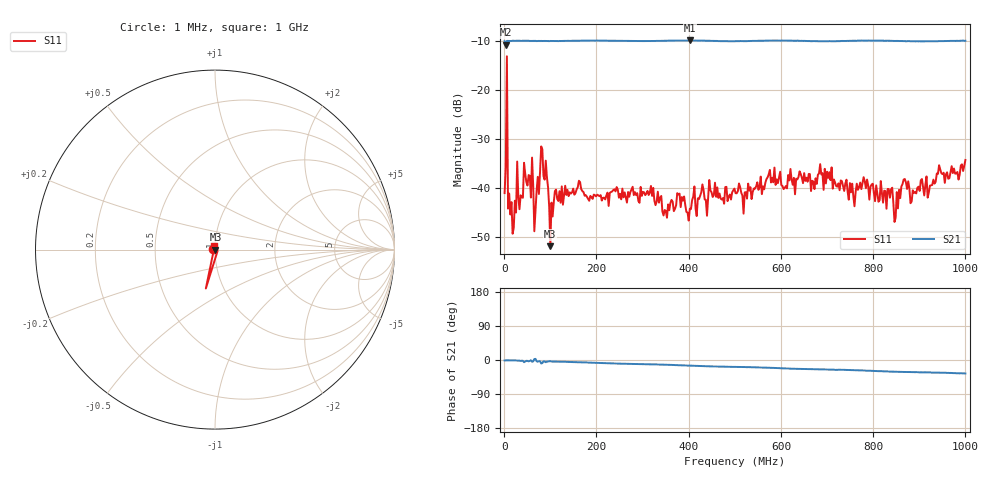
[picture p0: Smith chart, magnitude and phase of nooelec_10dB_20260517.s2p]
# HZ S RI R 50
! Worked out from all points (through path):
!   404 points, 1 MHz to 1 GHz, reference 50 ohm
!   highest |S21| = -9.81 dB at 402.6 MHz (marker M1); lowest = -10.6 dB at 3.479 MHz (marker M2)
!   group delay of S21, straight-line fit = 97.7 ps
!   lowest |S11| = -52.0 dB at 100.2 MHz (marker M3), VSWR 1.01, Z = 50.2 - j0.0422 ohm
!   |S11| at or under -10 dB: start of sweep to end of sweep
!   S12 and S22 are empty: the file has one direction only
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1000000  -0.00873 0.00114  0.318 -0.0063  0 0  0 0
3478908  0.0143 -0.00764  0.2935 -0.00613  0 0  0 0
1.091563e7  -0.00861 0.00135  0.3195 -0.00477  0 0  0 0
1.339454e7  -0.00525 -0.000841  0.3197 -0.00477  0 0  0 0
1.835236e7  -0.00304 0.00146  0.3211 -0.0056  0 0  0 0
4.809925e7  -0.00926 0.0067  0.3205 -0.0126  0 0  0 0
7.040942e7  -0.00929 0.000842  0.318 -0.0174  0 0  0 0
7.784615e7  -0.0132 0.00634  0.3183 -0.019  0 0  0 0
8.528287e7  -0.0126 0.00371  0.3191 -0.0191  0 0  0 0
1.001563e8  0.00248 -0.00042  0.319 -0.0169  0 0  0 0
1.695657e8  -0.00832 0.00401  0.3197 -0.0349  0 0  0 0
3.356526e8  -0.00504 0.0049  0.3124 -0.0663  0 0  0 0
3.480471e8  -0.00551 0.00214  0.3134 -0.069  0 0  0 0
4.025831e8  -0.00517 0.00326  0.3126 -0.0823  0 0  0 0
4.273722e8  -0.0066 0.00608  0.3106 -0.0881  0 0  0 0
5.017394e8  -0.00623 0.00621  0.3023 -0.0985  0 0  0 0
6.678263e8  -0.00426 0.011  0.2893 -0.1324  0 0  0 0
8.339131e8  -0.00474 0.00845  0.2767 -0.1631  0 0  0 0
8.487865e8  -0.00411 0.0027  0.2746 -0.1637  0 0  0 0
8.661389e8  -0.00323 0.0117  0.2712 -0.1661  0 0  0 0
8.859702e8  -0.00335 0.00879  0.2688 -0.1679  0 0  0 0
9.999999e8  -0.00471 0.0187  0.2605 -0.1869  0 0  0 0
